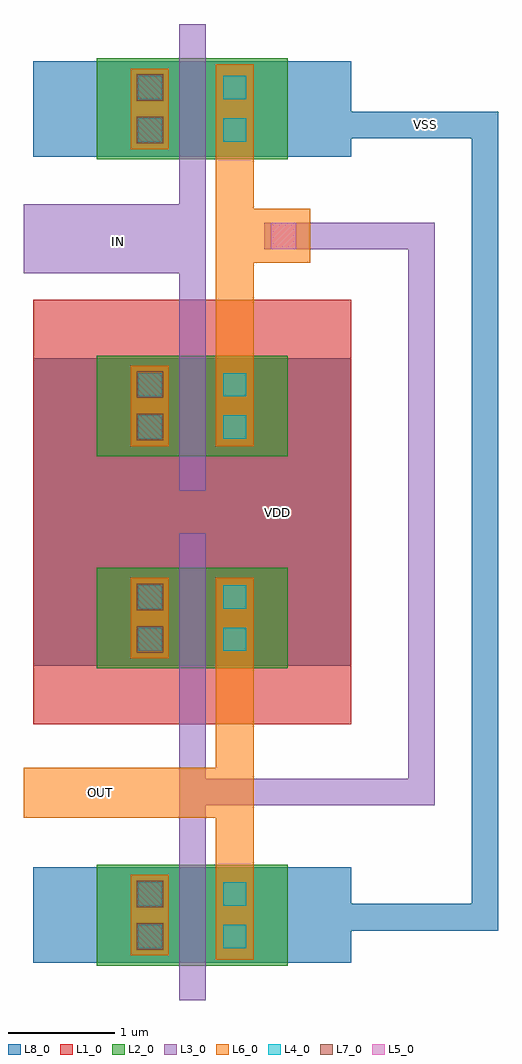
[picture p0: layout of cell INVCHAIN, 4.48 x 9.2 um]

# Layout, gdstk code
from math import pi, radians
import gdstk
lib = gdstk.Library(unit=1e-6, precision=1e-09)
def R(c, l, rs):  # rectangles x0, y0, x1, y1
    for r in rs: c.add(gdstk.rectangle(r[:2], r[2:], *l))
L1_0 = (1, 0)
L2_0 = (2, 0)
L3_0 = (3, 0)
L4_0 = (4, 0)
L5_0 = (5, 0)
L6_0 = (6, 0)
L7_0 = (7, 0)
L8_0 = (8, 0)

trans = lib.new_cell('TRANS')
R(trans, L2_0, [(-0.9,-0.475,0.9,0.475)])
R(trans, L4_0, [(-0.51,-0.31,-0.29,-0.09), (0.29,-0.31,0.51,-0.09), (-0.51,0.09,-0.29,0.31), (0.29,0.09,0.51,0.31)])
R(trans, L6_0, [(-0.58,-0.38,-0.22,0.38), (0.22,-0.38,0.58,0.38)])
trans.add(gdstk.FlexPath([(0,-0.8),(0,0.8)], 0.25, ends="flush", simple_path=True, layer=3, datatype=0))  # L3_0

inv = lib.new_cell('INV')
R(inv, L1_0, [(-1.5,1.8,1.5,3.8)])
R(inv, L3_0, [(-0.125,-0.25,0.125,2.25)])
R(inv, L6_0, [(-0.58,-0.42,-0.22,2.42)])
R(inv, L7_0, [(0.275,-0.325,0.525,-0.075), (0.275,0.075,0.525,0.325), (0.275,2.475,0.525,2.725), (0.275,2.875,0.525,3.125)])
R(inv, L8_0, [(-1.5,-0.45,1.5,0.45), (-1.5,2.35,1.5,3.25)])
inv.add(gdstk.Reference(trans, (0,0)))
inv.add(gdstk.Reference(trans, (0,2.8)))

inv2 = lib.new_cell('INV2')
R(inv2, L8_0, [(0,3.15,3,6.05)])
inv2.add(gdstk.Reference(inv, (1.5,0.8), rotation=pi, x_reflection=True))
inv2.add(gdstk.Reference(inv, (1.5,8.4), rotation=pi))
inv2.add(gdstk.Label('VDD', (1.11,4.6), layer=8, texttype=1))
inv2.add(gdstk.Label('VSS', (2.68,8.39), layer=8, texttype=1))
inv2.add(gdstk.Label('VSS', (2.65,0.75), layer=8, texttype=1))
inv2.add(gdstk.Label('A1', (1.48,7.11), layer=3, texttype=1))
inv2.add(gdstk.Label('A2', (1.52,1.95), layer=3, texttype=1))
inv2.add(gdstk.Label('Q1', (1.92,7.07), layer=6, texttype=1))
inv2.add(gdstk.Label('Q2', (1.94,1.95), layer=6, texttype=1))

invchain = lib.new_cell('INVCHAIN')
R(invchain, L3_0, [(-0.09,6.85,1.5,7.5)])
R(invchain, L5_0, [(2.24,7.075,2.48,7.325)])
R(invchain, L6_0, [(-0.09,1.72,1.8,2.19), (1.92,6.95,2.61,7.46)])
invchain.add(gdstk.FlexPath([(1.625,1.96),(3.66,1.96),(3.66,7.2),(2.18,7.2)], 0.25, ends="flush", simple_path=True, layer=3, datatype=0))  # L3_0
invchain.add(gdstk.FlexPath([(3,8.25),(4.26,8.25),(4.26,0.78),(3,0.78)], 0.25, ends="flush", simple_path=True, layer=8, datatype=0))  # L8_0
invchain.add(gdstk.Reference(inv2, (0,0)))
invchain.add(gdstk.Label('VSS', (3.7,8.25), layer=8, texttype=1))
invchain.add(gdstk.Label('VDD', (2.3,4.6), layer=8, texttype=1))
invchain.add(gdstk.Label('IN', (0.8,7.15), layer=3, texttype=1))
invchain.add(gdstk.Label('OUT', (0.63,1.96), layer=6, texttype=1))

lib.write_gds('INVCHAIN.gds')
